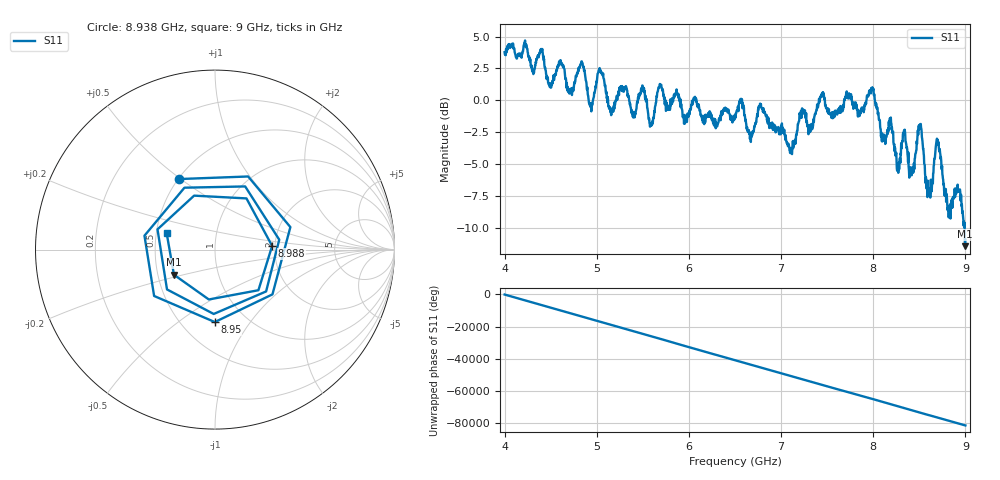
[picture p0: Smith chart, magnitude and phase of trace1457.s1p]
! Created with skrf 1.8.0 (http://scikit-rf.org).
# Hz S RI R 50.0
!freq ReS11 ImS11
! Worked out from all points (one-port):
!   1601 points, 4 GHz to 9 GHz, reference 50 ohm
!   lowest |S11| = -11.4 dB at 8.997 GHz (marker M1), VSWR 1.73, Z = 30.4 - j9.16 ohm
!   |S11| at or under -10 dB: 8.991829 GHz to end of sweep
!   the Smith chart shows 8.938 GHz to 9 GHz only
!   S11 on the Smith chart (normalised r, x): 8.938 GHz: 0.50, +0.49; 8.95 GHz: 0.72, -0.69; 8.988 GHz: 1.93, +0.09; 9 GHz: 0.57, +0.11
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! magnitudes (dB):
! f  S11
! 4 GHz  3.8
! 4.625 GHz  2.8
! 4.706 GHz  0.9
! 4.844 GHz  2.9
! 4.934 GHz  -0.5
! 5.034 GHz  2.4
! 5.153 GHz  -0.9
! 5.25 GHz  1.0
! 5.503 GHz  1.0
! 5.588 GHz  -1.9
! 5.681 GHz  1.1
! 5.875 GHz  0.5
! 6.5 GHz  -1.4
! 7.125 GHz  -3.7
! 7.225 GHz  -0.9
! 7.75 GHz  0.3
! 7.988 GHz  1.0
! 8.109 GHz  -3.0
! 8.375 GHz  -4.4
! 8.506 GHz  -1.9
! 8.594 GHz  -7.2
! 8.7 GHz  -3.1
! 8.816 GHz  -8.5
! 8.938 GHz  -7.1
! 8.95 GHz  -7.9
! 8.988 GHz  -9.9
! 8.997 GHz  -11.4
! 9 GHz  -10.9
